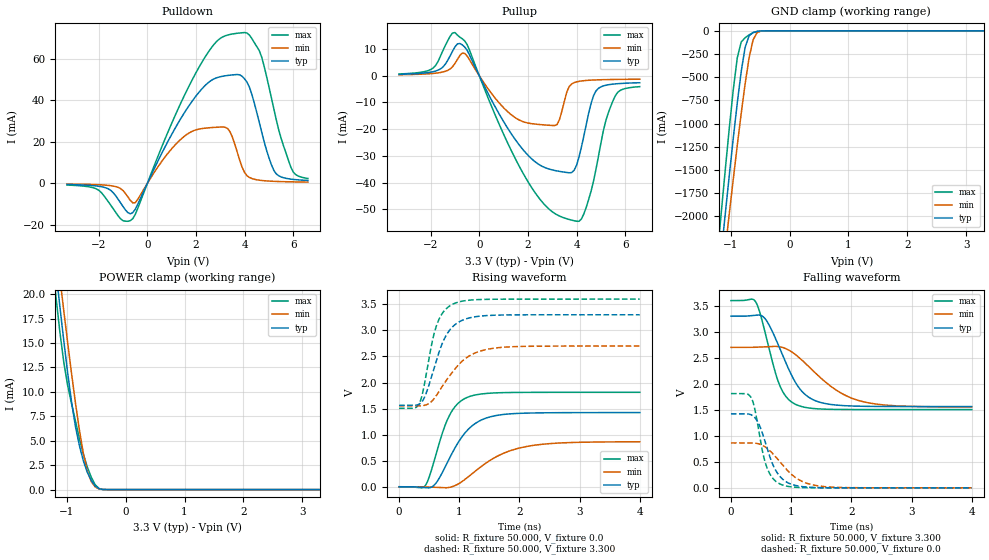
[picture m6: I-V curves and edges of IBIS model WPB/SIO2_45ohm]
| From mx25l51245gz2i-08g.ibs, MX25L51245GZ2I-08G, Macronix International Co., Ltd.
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|   Model WPB/SIO2_45ohm
[Model] WPB/SIO2_45ohm
Model_type I/O
Vinl = 0.8
Vinh = 2.31
Vmeas = 1.65
Vref = 3.3
Cref = 30pF
Rref = 25000
Polarity   Non-Inverting
Enable   Active-High
C_comp   5.614pF   4.996pF   6.434pF
[Temperature Range]   25.000   85.000   -40.000
[Voltage Range]   3.300V   2.700V   3.600V
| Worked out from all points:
|   slope of the pulldown table from 0 to 0.495 V, typ, clamps not added: 40.6 ohm
|   slope of the pullup table from 0 to 0.495 V, typ, clamps not added: 55.3 ohm
|   GND clamp passes 1 mA (typ) near -0.46 V on its own axis
|   POWER clamp passes 1 mA (typ) near -0.59 V on its own axis
|   rising waveform, R_fixture 50.000, V_fixture 0.0: 20-80 % time 459ps typ, 713ps min, 327ps max; typ from 0 V to 1.42 V
|   rising waveform, R_fixture 50.000, V_fixture 3.300: 20-80 % time 323ps typ, 476ps min, 237ps max; typ from 1.56 V to 3.3 V
|   falling waveform, R_fixture 50.000, V_fixture 3.300: 20-80 % time 430ps typ, 728ps min, 303ps max; typ from 3.3 V to 1.56 V
|   falling waveform, R_fixture 50.000, V_fixture 0.0: 20-80 % time 275ps typ, 439ps min, 200ps max; typ from 1.42 V to 0 V
[Pulldown]
|Voltage   I(typ)   I(min)   I(max)
-3.3V     -550uA     -318uA     -808uA
-1.6V     -2.684mA   -986.1uA   -8.95mA
-1V       -11.18mA   -3.466mA   -17.98mA
-600mV    -14.1mA    -9.394mA   -17mA
1V        23.57mA    16.67mA    28.91mA
2V        42.08mA    25.79mA    53.32mA
3.3V      51.97mA    26.39mA    71.43mA
4V        50.28mA    5.144mA    72.63mA
4.6V      29.46mA    1.535mA    63.97mA
5.2V      6.253mA    978.2uA    35.92mA
5.9V      2.04mA     731.5uA    7.755mA
6.6V      1.409mA    608.3uA    2.365mA
[Pullup]
|Voltage   I(typ)   I(min)   I(max)
-3.3V     525.2uA    367.6uA    661uA
-1.9V     1.52mA     863.8uA    2.868mA
-1V       10.79mA    4.574mA    16.15mA
-600mV    10.76mA    8.34mA     13.03mA
900mV     -15.6mA    -10.99mA   -19.83mA
2.1V      -30.6mA    -17.83mA   -41.04mA
3.2V      -35.59mA   -18.24mA   -52.01mA
4V        -33.45mA   -2.283mA   -54.4mA
4.3V      -22.49mA   -1.841mA   -51.64mA
4.8V      -5.657mA   -1.554mA   -34.88mA
5.6V      -3.032mA   -1.38mA    -7.368mA
6.6V      -2.612mA   -1.29mA    -4.071mA
[GND_clamp]
|Voltage   I(typ)   I(min)   I(max)
-3.3V     -16.26A    -15.31A    -17.41A
-1.223V   -2.788A    -3.096A    -2.396A
-1.156V   -2.368A    -2.714A    -1.932A
-1.089V   -1.954A    -2.335A    -1.477A
-1.022V   -1.548A    -1.961A    -1.039A
-888mV    -776.8mA   -1.234A    -291.6mA
-821mV    -437.7mA   -889.2mA   -120.5mA
-754mV    -177.1mA   -568mA     -74.43mA
-620mV    -19.02mA   -98.47mA   -20.06mA
-553mV    -6.733mA   -19.87mA   -6.465mA
-419mV    -211.5uA   -407.9uA   -100.1uA
3.3V      0A         0A         0A
[POWER_clamp]
|Voltage   I(typ)   I(min)   I(max)
-3.266V   146mA      139.2mA    154.6mA
-1.189V   22.58mA    25.31mA    19.95mA
-1.122V   18.93mA    21.85mA    16.32mA
-1.055V   15.39mA    18.45mA    13.16mA
-921mV    9.001mA    11.93mA    8.823mA
-854mV    6.475mA    8.882mA    7.037mA
-787mV    4.516mA    6.099mA    5.219mA
-720mV    2.958mA    3.727mA    3.621mA
-653mV    1.778mA    1.943mA    2.338mA
-586mV    943.4uA    826.9uA    1.274mA
-452mV    87.64uA    64.62uA    107.4uA
3.3V      0A         0A         0A
[Ramp]
| variable   typ   min   max
dV/dt_r   0.854/0.464n   0.518/0.714n   1.087/0.333n
dV/dt_f   1.042/0.436n   0.688/0.735n   1.257/0.308n
R_load = 50.000
[Rising Waveform]
R_fixture= 50.000
V_fixture= 0.0
V_fixture_min= 0.0
V_fixture_max= 0.0
|time   V(typ)   V(min)   V(max)
0s        1.476uV    1.498uV    1.396uV
436ps     -17.71mV   -3.125mV   21.88mV
598ps     47.76mV    -10.89mV   555.5mV
725ps     284.8mV    -19.21mV   1.047V
824ps     513.4mV    -14.87mV   1.337V
964ps     813.7mV    40.72mV    1.581V
1.148ns   1.099V     187.7mV    1.722V
1.495ns   1.335V     493.9mV    1.794V
2.088ns   1.412V     765.4mV    1.811V
4ns       1.423V     863mV      1.812V
[Rising Waveform]
R_fixture= 50.000
V_fixture= 3.300
V_fixture_min= 2.700
V_fixture_max= 3.600
|time   V(typ)   V(min)   V(max)
0s        1.563V     1.552V     1.505V
336ps     1.586V     1.551V     1.595V
448ps     1.786V     1.57V      2.13V
546ps     2.132V     1.643V     2.757V
623ps     2.429V     1.753V     3.094V
758ps     2.85V      1.996V     3.385V
904ps     3.085V     2.223V     3.509V
1.188ns   3.245V     2.525V     3.582V
1.578ns   3.291V     2.658V     3.598V
4ns       3.3V       2.7V       3.6V
[Falling Waveform]
R_fixture= 50.000
V_fixture= 3.300
V_fixture_min= 2.700
V_fixture_max= 3.600
|time   V(typ)   V(min)   V(max)
0s        3.3V       2.7V       3.6V
409ps     3.32V      2.703V     3.579V
575ps     3.24V      2.712V     2.954V
799ps     2.715V     2.714V     2.002V
919ps     2.387V     2.672V     1.748V
1.082ns   2.007V     2.553V     1.601V
1.422ns   1.666V     2.187V     1.52V
1.765ns   1.59V      1.867V     1.508V
2.108ns   1.57V      1.684V     1.506V
4ns       1.563V     1.554V     1.505V
[Falling Waveform]
R_fixture= 50.000
V_fixture= 0.0
V_fixture_min= 0.0
V_fixture_max= 0.0
|time   V(typ)   V(min)   V(max)
0s        1.423V     864.2mV    1.812V
339ps     1.402V     865.5mV    1.728V
399ps     1.348V     860.6mV    1.501V
465ps     1.224V     844.8mV    1.077V
589ps     806.1mV    769.8mV    419.2mV
705ps     423.9mV    645.6mV    170.3mV
838ps     189mV      468mV      62.94mV
1.128ns   33.07mV    157.2mV    8.115mV
1.478ns   4.751mV    33.39mV    1.279mV
4ns       220.9uV    125.8uV    282.8uV
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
